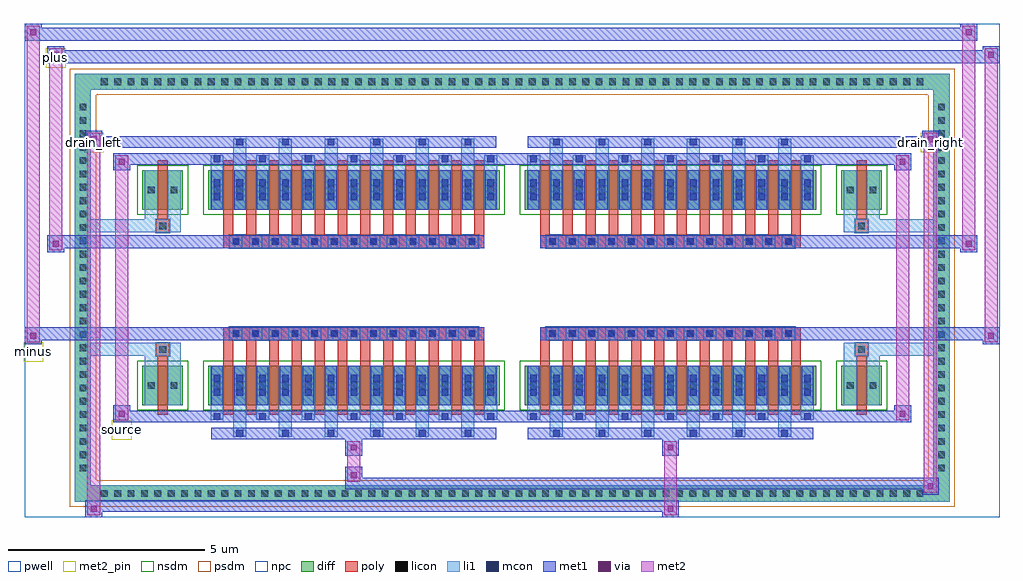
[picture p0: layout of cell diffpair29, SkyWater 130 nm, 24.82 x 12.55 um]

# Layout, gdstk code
import gdstk
lib = gdstk.Library(unit=1e-6, precision=5e-09)
def R(c, l, rs):  # rectangles x0, y0, x1, y1
    for r in rs: c.add(gdstk.rectangle(r[:2], r[2:], *l))
def A(c, l, x, y, w, h, nx, ny, dx, dy):  # array of equal rectangles
    R(c, l, [(x+i*dx, y+j*dy, x+i*dx+w, y+j*dy+h) for i in range(nx) for j in range(ny)])
def P(c, l, *ps):  # polygons
    for p in ps: c.add(gdstk.Polygon(p, *l))
pwell = (64, 44)
diff = (65, 20)
poly = (66, 20)
licon = (66, 44)
li1 = (67, 20)
mcon = (67, 44)
met1 = (68, 20)
via = (68, 44)
met2_pin = (69, 16)
met2 = (69, 20)
nsdm = (93, 44)
psdm = (94, 20)
npc = (95, 20)

diffpair29 = lib.new_cell('diffpair29')
R(diffpair29, pwell, [(-12.39,-5.84,12.39,6.71), (-9.71,-4.03,-0.01,-0.805), (0.01,-4.03,9.71,-0.805), (-9.71,0.805,-0.01,4.03), (0.01,0.805,9.71,4.03)])
A(diffpair29, diff, -10.575, -5.44, 0.41, 0.41, 62, 2, 0.34, 10.47)
A(diffpair29, diff, -11.12, -4.795, 0.41, 0.41, 1, 28, 0, 0.34)
A(diffpair29, diff, 10.71, -4.795, 0.41, 0.41, 1, 28, 0, 0.34)
R(diffpair29, diff, [(-10.575,-5.44,10.575,-5.03), (-11.12,-4.795,-10.71,4.795), (10.71,-4.795,11.12,4.795), (-9.4,-2.985,-8.37,-1.985), (-7.73,-2.985,-0.32,-1.985), (0.32,-2.985,7.73,-1.985), (8.37,-2.985,9.4,-1.985), (-9.4,1.985,-8.37,2.985), (-7.73,1.985,-0.32,2.985), (0.32,1.985,7.73,2.985), (8.37,1.985,9.4,2.985), (-10.575,5.03,10.575,5.44)])
P(diffpair29, diff, [(11.12,5.44),(-11.12,5.44),(-11.12,-5.03),(-10.71,-5.03),(-10.71,5.03),(10.71,5.03),(10.71,-5.03),(-10.71,-5.03),(-11.12,-5.03),(-11.12,-5.44),(11.12,-5.44)])
A(diffpair29, poly, -7.34, -3.235, 0.25, 1.5, 12, 2, 0.58, 4.97)
A(diffpair29, poly, 0.71, -3.235, 0.25, 1.5, 12, 2, 0.58, 4.97)
A(diffpair29, poly, -7.34, -1.735, 0.25, 0.4, 12, 2, 0.58, 3.07)
A(diffpair29, poly, 0.71, -1.735, 0.25, 0.4, 12, 2, 0.58, 3.07)
A(diffpair29, poly, -7.19, -1.335, 0.33, 0.33, 13, 2, 0.5, 2.34)
A(diffpair29, poly, 0.86, -1.335, 0.33, 0.33, 13, 2, 0.5, 2.34)
R(diffpair29, poly, [(-9.01,-3.235,-8.76,-1.735), (8.76,-3.235,9.01,-1.735), (-9.05,-1.735,-8.72,-1.405), (-9.05,-1.735,-8.72,-1.405), (8.72,-1.735,9.05,-1.405), (8.72,-1.735,9.05,-1.405), (-7.34,-1.335,-0.71,-1.005), (0.71,-1.335,7.34,-1.005), (-7.34,1.005,-0.71,1.335), (0.71,1.005,7.34,1.335), (-9.05,1.405,-8.72,1.735), (-9.05,1.405,-8.72,1.735), (8.72,1.405,9.05,1.735), (8.72,1.405,9.05,1.735), (-9.01,1.735,-8.76,3.235), (8.76,1.735,9.01,3.235)])
A(diffpair29, licon, -10.455, -5.32, 0.17, 0.17, 62, 2, 0.34, 10.47)
A(diffpair29, licon, -11, -4.675, 0.17, 0.17, 1, 28, 0, 0.34)
A(diffpair29, licon, 10.83, -4.675, 0.17, 0.17, 1, 28, 0, 0.34)
A(diffpair29, licon, -7.59, -2.57, 0.17, 0.17, 13, 2, 0.58, 4.97)
A(diffpair29, licon, 0.46, -2.57, 0.17, 0.17, 13, 2, 0.58, 4.97)
A(diffpair29, licon, -7.11, -1.255, 0.17, 0.17, 13, 2, 0.5, 2.34)
A(diffpair29, licon, 0.94, -1.255, 0.17, 0.17, 13, 2, 0.5, 2.34)
R(diffpair29, licon, [(-9.26,-2.57,-9.09,-2.4), (-8.68,-2.57,-8.51,-2.4), (8.51,-2.57,8.68,-2.4), (9.09,-2.57,9.26,-2.4), (-8.97,-1.655,-8.8,-1.485), (8.8,-1.655,8.97,-1.485), (-8.97,1.485,-8.8,1.655), (8.8,1.485,8.97,1.655), (-9.26,2.4,-9.09,2.57), (-8.68,2.4,-8.51,2.57), (8.51,2.4,8.68,2.57), (9.09,2.4,9.26,2.57)])
A(diffpair29, li1, -10.535, -5.4, 0.33, 0.33, 62, 2, 0.34, 10.47)
A(diffpair29, li1, -11.08, -4.755, 0.33, 0.33, 1, 28, 0, 0.34)
A(diffpair29, li1, 10.75, -4.755, 0.33, 0.33, 1, 28, 0, 0.34)
A(diffpair29, li1, -7.09, -3.79, 0.33, 0.805, 6, 2, 1.16, 6.775)
A(diffpair29, li1, -7.01, -3.79, 0.17, 0.17, 6, 2, 1.16, 7.41)
A(diffpair29, li1, 0.96, -3.79, 0.33, 0.805, 6, 2, 1.16, 6.775)
A(diffpair29, li1, 1.04, -3.79, 0.17, 0.17, 6, 2, 1.16, 7.41)
A(diffpair29, li1, -7.67, -3.36, 0.33, 0.375, 7, 2, 1.16, 6.345)
A(diffpair29, li1, -7.59, -3.36, 0.17, 0.17, 7, 2, 1.16, 6.55)
A(diffpair29, li1, 0.38, -3.36, 0.33, 0.375, 7, 2, 1.16, 6.345)
A(diffpair29, li1, 0.46, -3.36, 0.17, 0.17, 7, 2, 1.16, 6.55)
A(diffpair29, li1, -7.67, -2.985, 0.33, 1, 13, 2, 0.58, 4.97)
A(diffpair29, li1, 0.38, -2.985, 0.33, 1, 13, 2, 0.58, 4.97)
A(diffpair29, li1, -7.59, -2.75, 0.17, 0.17, 13, 2, 0.58, 0.36)
A(diffpair29, li1, -7.59, -2.75, 0.17, 0.53, 13, 2, 0.58, 4.97)
A(diffpair29, li1, 0.46, -2.75, 0.17, 0.17, 13, 2, 0.58, 0.36)
A(diffpair29, li1, 0.46, -2.75, 0.17, 0.53, 13, 2, 0.58, 4.97)
A(diffpair29, li1, -7.67, -2.65, 0.33, 0.33, 13, 2, 0.58, 4.97)
A(diffpair29, li1, 0.38, -2.65, 0.33, 0.33, 13, 2, 0.58, 4.97)
A(diffpair29, li1, -7.19, -1.335, 0.33, 0.33, 13, 2, 0.5, 2.34)
A(diffpair29, li1, 0.86, -1.335, 0.33, 0.33, 13, 2, 0.5, 2.34)
A(diffpair29, li1, -7.59, 2.22, 0.17, 0.17, 13, 2, 0.58, 0.36)
A(diffpair29, li1, 0.46, 2.22, 0.17, 0.17, 13, 2, 0.58, 0.36)
R(diffpair29, li1, [(-11.12,-5.44,-10.71,-5.03), (-11.12,-5.44,-10.71,-5.03), (-10.71,-5.44,10.71,-5.03), (10.71,-5.44,11.12,-5.03), (10.71,-5.44,11.12,-5.03), (-11.12,-5.03,-10.71,5.03), (10.71,-5.03,11.12,5.03), (-9.34,-2.985,-9.01,-1.985), (-8.76,-2.985,-8.43,-1.985), (8.43,-2.985,8.76,-1.985), (9.01,-2.985,9.34,-1.985), (-9.34,-2.65,-9.01,-2.32), (-8.76,-2.65,-8.43,-2.32), (8.43,-2.65,8.76,-2.32), (9.01,-2.65,9.34,-2.32), (-9.34,-1.985,-9.01,-1.405), (-8.76,-1.985,-8.43,-1.405), (8.43,-1.985,8.76,-1.405), (9.01,-1.985,9.34,-1.405), (-11.12,-1.735,-9.05,-1.405), (-9.34,-1.735,-9.05,-1.405), (-9.05,-1.735,-8.72,-1.405), (-8.72,-1.735,-8.43,-1.405), (8.43,-1.735,8.72,-1.405), (8.72,-1.735,9.05,-1.405), (8.72,-1.735,11.12,-1.405), (9.05,-1.735,9.34,-1.405), (-11.12,1.405,-9.05,1.735), (-9.34,1.405,-9.05,1.735), (-9.34,1.405,-9.01,1.985), (-9.05,1.405,-8.72,1.735), (-8.76,1.405,-8.43,1.985), (-8.72,1.405,-8.43,1.735), (8.43,1.405,8.72,1.735), (8.43,1.405,8.76,1.985), (8.72,1.405,9.05,1.735), (8.72,1.405,11.12,1.735), (9.01,1.405,9.34,1.985), (9.05,1.405,9.34,1.735), (-9.34,1.985,-9.01,2.985), (-8.76,1.985,-8.43,2.985), (8.43,1.985,8.76,2.985), (9.01,1.985,9.34,2.985), (-9.34,2.32,-9.01,2.65), (-8.76,2.32,-8.43,2.65), (8.43,2.32,8.76,2.65), (9.01,2.32,9.34,2.65), (-11.12,5.03,-10.71,5.44), (-11.12,5.03,-10.71,5.44), (-10.71,5.03,10.71,5.44), (10.71,5.03,11.12,5.44), (10.71,5.03,11.12,5.44)])
A(diffpair29, mcon, -7.01, -3.79, 0.17, 0.17, 6, 2, 1.16, 7.41)
A(diffpair29, mcon, 1.04, -3.79, 0.17, 0.17, 6, 2, 1.16, 7.41)
A(diffpair29, mcon, -7.59, -3.36, 0.17, 0.17, 7, 2, 1.16, 6.55)
A(diffpair29, mcon, 0.46, -3.36, 0.17, 0.17, 7, 2, 1.16, 6.55)
A(diffpair29, mcon, -7.59, -2.75, 0.17, 0.17, 13, 2, 0.58, 0.36)
A(diffpair29, mcon, 0.46, -2.75, 0.17, 0.17, 13, 2, 0.58, 0.36)
A(diffpair29, mcon, -7.11, -1.255, 0.17, 0.17, 13, 2, 0.5, 2.34)
A(diffpair29, mcon, 0.94, -1.255, 0.17, 0.17, 13, 2, 0.5, 2.34)
A(diffpair29, mcon, -7.59, 2.22, 0.17, 0.17, 13, 2, 0.58, 0.36)
A(diffpair29, mcon, 0.46, 2.22, 0.17, 0.17, 13, 2, 0.58, 0.36)
A(diffpair29, met1, -7.07, -3.85, 0.29, 0.29, 6, 2, 1.16, 7.41)
A(diffpair29, met1, 0.98, -3.85, 0.29, 0.29, 6, 2, 1.16, 7.41)
A(diffpair29, met1, -7.65, -3.42, 0.29, 0.29, 7, 2, 1.16, 6.55)
A(diffpair29, met1, 0.4, -3.42, 0.29, 0.29, 7, 2, 1.16, 6.55)
A(diffpair29, met1, -7.65, -2.985, 0.29, 1, 13, 2, 0.58, 4.97)
A(diffpair29, met1, 0.4, -2.985, 0.29, 1, 13, 2, 0.58, 4.97)
A(diffpair29, met1, -7.65, -2.81, 0.29, 0.29, 13, 2, 0.58, 0.36)
A(diffpair29, met1, 0.4, -2.81, 0.29, 0.29, 13, 2, 0.58, 0.36)
A(diffpair29, met1, -7.17, -1.315, 0.29, 0.29, 13, 2, 0.5, 2.34)
A(diffpair29, met1, 0.88, -1.315, 0.29, 0.29, 13, 2, 0.5, 2.34)
A(diffpair29, met1, -7.65, 2.16, 0.29, 0.29, 13, 2, 0.58, 0.36)
A(diffpair29, met1, 0.4, 2.16, 0.29, 0.29, 13, 2, 0.58, 0.36)
R(diffpair29, met1, [(-10.85,-5.84,-10.42,-5.41), (3.81,-5.84,4.24,-5.41), (-10.85,-5.7,4.24,-5.41), (10.42,-5.27,10.85,-4.84), (-4.24,-5.13,10.85,-4.84), (-4.24,-4.99,-3.81,-4.56), (-4.24,-4.28,-3.81,-3.85), (3.81,-4.28,4.24,-3.85), (-7.65,-3.85,-0.4,-3.56), (0.4,-3.85,7.65,-3.56), (-10.14,-3.42,-9.71,-2.99), (-10.14,-3.42,-7.65,-3.13), (-7.65,-3.42,-0.4,-3.13), (-0.4,-3.42,0.4,-3.13), (0.4,-3.42,7.65,-3.13), (7.65,-3.42,10.14,-3.13), (9.71,-3.42,10.14,-2.99), (-12.39,-1.435,-11.96,-1.005), (11.96,-1.435,12.39,-1.005), (-12.39,-1.335,-0.71,-1.005), (-7.34,-1.335,-0.71,-1.005), (0.71,-1.335,7.34,-1.005), (0.71,-1.335,12.39,-1.005), (-11.82,0.905,-11.39,1.335), (11.39,0.905,11.82,1.335), (-11.82,1.005,-7.34,1.335), (-7.34,1.005,-0.71,1.335), (0.71,1.005,7.34,1.335), (7.34,1.005,11.82,1.335), (-10.14,2.99,-9.71,3.42), (9.71,2.99,10.14,3.42), (-10.14,3.13,-7.65,3.42), (-7.65,3.13,-0.4,3.42), (-0.4,3.13,0.4,3.42), (0.4,3.13,7.65,3.42), (7.65,3.13,10.14,3.42), (-10.85,3.56,-10.42,3.99), (-10.85,3.56,-7.65,3.85), (-7.65,3.56,-0.4,3.85), (0.4,3.56,7.65,3.85), (7.65,3.56,10.85,3.85), (10.42,3.56,10.85,3.99), (-11.82,5.71,-11.39,6.14), (-11.82,5.71,-9.71,6.04), (-9.71,5.71,9.71,6.04), (9.71,5.71,12.39,6.04), (11.96,5.71,12.39,6.14), (-12.39,6.28,-11.96,6.71), (-12.39,6.28,-9.71,6.61), (-9.71,6.28,9.71,6.61), (9.71,6.28,11.82,6.61), (11.39,6.28,11.82,6.71)])
R(diffpair29, via, [(-10.71,-5.7,-10.56,-5.55), (3.95,-5.7,4.1,-5.55), (10.56,-5.13,10.71,-4.98), (-4.1,-4.85,-3.95,-4.7), (-4.1,-4.14,-3.95,-3.99), (3.95,-4.14,4.1,-3.99), (-10,-3.28,-9.85,-3.13), (9.85,-3.28,10,-3.13), (-12.25,-1.295,-12.1,-1.145), (12.1,-1.295,12.25,-1.145), (-11.68,1.045,-11.53,1.195), (11.53,1.045,11.68,1.195), (-10,3.13,-9.85,3.28), (9.85,3.13,10,3.28), (-10.71,3.7,-10.56,3.85), (10.56,3.7,10.71,3.85), (-11.68,5.85,-11.53,6), (12.1,5.85,12.25,6), (-12.25,6.42,-12.1,6.57), (11.53,6.42,11.68,6.57)])
R(diffpair29, met2_pin, [(-10.175,-3.87,-9.675,-3.37), (-12.425,-1.885,-11.925,-1.385), (-10.885,3.44,-10.385,3.94), (10.385,3.44,10.885,3.94), (-11.855,5.59,-11.355,6.09)])
R(diffpair29, met2, [(-10.8,-5.79,-10.47,-5.46), (-10.8,-5.79,-10.47,3.94), (3.86,-5.79,4.19,-5.46), (3.86,-5.46,4.19,-4.23), (10.47,-5.22,10.8,-4.89), (10.47,-5.22,10.8,3.94), (-4.19,-4.94,-3.86,-4.61), (-4.19,-4.61,-3.86,-4.23), (-4.19,-4.23,-3.86,-3.9), (3.86,-4.23,4.19,-3.9), (-10.09,-3.37,-9.76,-3.04), (-10.09,-3.37,-9.76,3.37), (9.76,-3.37,10.09,-3.04), (9.76,-3.37,10.09,3.37), (-12.34,-1.385,-12.01,-1.055), (-12.34,-1.385,-12.01,6.66), (12.01,-1.385,12.34,-1.055), (12.01,-1.385,12.34,6.09), (-11.77,0.955,-11.44,1.285), (-11.77,0.955,-11.44,6.09), (11.44,0.955,11.77,1.285), (11.44,0.955,11.77,6.66), (-10.09,3.04,-9.76,3.37), (9.76,3.04,10.09,3.37), (-10.8,3.61,-10.47,3.94), (10.47,3.61,10.8,3.94), (-11.77,5.76,-11.44,6.09), (12.01,5.76,12.34,6.09), (-12.34,6.33,-12.01,6.66), (11.44,6.33,11.77,6.66)])
P(diffpair29, met2, [(12.34,-1.385),(12.34,-1.385),(12.34,-1.055),(12.34,-1.055)],
  [(12.34,5.76),(12.34,5.76),(12.34,6.09),(12.34,6.09)],
  [(-12.01,-1.385),(-12.01,-1.385),(-12.01,-1.055),(-12.01,-1.055)],
  [(-12.01,6.33),(-12.01,6.33),(-12.01,6.66),(-12.01,6.66)],
  [(11.77,0.955),(11.77,0.955),(11.77,1.285),(11.77,1.285)],
  [(11.77,6.33),(11.77,6.33),(11.77,6.66),(11.77,6.66)],
  [(-11.44,0.955),(-11.44,0.955),(-11.44,1.285),(-11.44,1.285)],
  [(-11.44,5.76),(-11.44,5.76),(-11.44,6.09),(-11.44,6.09)],
  [(-10.47,-5.79),(-10.47,-5.79),(-10.47,-5.46),(-10.47,-5.46)],
  [(-10.47,3.61),(-10.47,3.61),(-10.47,3.94),(-10.47,3.94)],
  [(10.8,-5.22),(10.8,-5.22),(10.8,-4.89),(10.8,-4.89)],
  [(10.8,3.61),(10.8,3.61),(10.8,3.94),(10.8,3.94)],
  [(-9.76,-3.37),(-9.76,-3.37),(-9.76,-3.04),(-9.76,-3.04)],
  [(-9.76,3.04),(-9.76,3.04),(-9.76,3.37),(-9.76,3.37)],
  [(10.09,-3.37),(10.09,-3.37),(10.09,-3.04),(10.09,-3.04)],
  [(10.09,3.04),(10.09,3.04),(10.09,3.37),(10.09,3.37)])
R(diffpair29, nsdm, [(-9.53,-3.115,-8.24,-1.855), (-7.86,-3.115,-0.19,-1.855), (0.19,-3.115,7.86,-1.855), (8.24,-3.115,9.53,-1.855), (-9.53,1.855,-8.24,3.115), (-7.86,1.855,-0.19,3.115), (0.19,1.855,7.86,3.115), (8.24,1.855,9.53,3.115)])
P(diffpair29, psdm, [(11.25,5.57),(-11.25,5.57),(-11.25,-4.9),(-10.58,-4.9),(-10.58,4.9),(10.58,4.9),(10.58,-4.9),(-10.58,-4.9),(-11.25,-4.9),(-11.25,-5.57),(11.25,-5.57)])
A(diffpair29, npc, -7.21, -1.355, 0.37, 0.37, 13, 2, 0.5, 2.34)
A(diffpair29, npc, 0.84, -1.355, 0.37, 0.37, 13, 2, 0.5, 2.34)
R(diffpair29, npc, [(-9.07,-1.755,-8.7,-1.385), (8.7,-1.755,9.07,-1.385), (-7.21,-1.355,-6.34,-0.985), (-7.21,-1.355,-6.34,-0.985), (-6.71,-1.355,-5.84,-0.985), (-6.71,-1.355,-5.84,-0.985), (-6.21,-1.355,-5.34,-0.985), (-6.21,-1.355,-5.34,-0.985), (-5.71,-1.355,-4.84,-0.985), (-5.71,-1.355,-4.84,-0.985), (-5.21,-1.355,-4.34,-0.985), (-5.21,-1.355,-4.34,-0.985), (-4.71,-1.355,-3.84,-0.985), (-4.71,-1.355,-3.84,-0.985), (-4.21,-1.355,-3.34,-0.985), (-4.21,-1.355,-3.34,-0.985), (-3.71,-1.355,-2.84,-0.985), (-3.71,-1.355,-2.84,-0.985), (-3.21,-1.355,-2.34,-0.985), (-3.21,-1.355,-2.34,-0.985), (-2.71,-1.355,-1.84,-0.985), (-2.71,-1.355,-1.84,-0.985), (-2.21,-1.355,-1.34,-0.985), (-2.21,-1.355,-1.34,-0.985), (-1.71,-1.355,-0.84,-0.985), (-1.71,-1.355,-0.84,-0.985), (0.84,-1.355,1.71,-0.985), (0.84,-1.355,1.71,-0.985), (1.34,-1.355,2.21,-0.985), (1.34,-1.355,2.21,-0.985), (1.84,-1.355,2.71,-0.985), (1.84,-1.355,2.71,-0.985), (2.34,-1.355,3.21,-0.985), (2.34,-1.355,3.21,-0.985), (2.84,-1.355,3.71,-0.985), (2.84,-1.355,3.71,-0.985), (3.34,-1.355,4.21,-0.985), (3.34,-1.355,4.21,-0.985), (3.84,-1.355,4.71,-0.985), (3.84,-1.355,4.71,-0.985), (4.34,-1.355,5.21,-0.985), (4.34,-1.355,5.21,-0.985), (4.84,-1.355,5.71,-0.985), (4.84,-1.355,5.71,-0.985), (5.34,-1.355,6.21,-0.985), (5.34,-1.355,6.21,-0.985), (5.84,-1.355,6.71,-0.985), (5.84,-1.355,6.71,-0.985), (6.34,-1.355,7.21,-0.985), (6.34,-1.355,7.21,-0.985), (-7.21,0.985,-6.34,1.355), (-7.21,0.985,-6.34,1.355), (-6.71,0.985,-5.84,1.355), (-6.71,0.985,-5.84,1.355), (-6.21,0.985,-5.34,1.355), (-6.21,0.985,-5.34,1.355), (-5.71,0.985,-4.84,1.355), (-5.71,0.985,-4.84,1.355), (-5.21,0.985,-4.34,1.355), (-5.21,0.985,-4.34,1.355), (-4.71,0.985,-3.84,1.355), (-4.71,0.985,-3.84,1.355), (-4.21,0.985,-3.34,1.355), (-4.21,0.985,-3.34,1.355), (-3.71,0.985,-2.84,1.355), (-3.71,0.985,-2.84,1.355), (-3.21,0.985,-2.34,1.355), (-3.21,0.985,-2.34,1.355), (-2.71,0.985,-1.84,1.355), (-2.71,0.985,-1.84,1.355), (-2.21,0.985,-1.34,1.355), (-2.21,0.985,-1.34,1.355), (-1.71,0.985,-0.84,1.355), (-1.71,0.985,-0.84,1.355), (0.84,0.985,1.71,1.355), (0.84,0.985,1.71,1.355), (1.34,0.985,2.21,1.355), (1.34,0.985,2.21,1.355), (1.84,0.985,2.71,1.355), (1.84,0.985,2.71,1.355), (2.34,0.985,3.21,1.355), (2.34,0.985,3.21,1.355), (2.84,0.985,3.71,1.355), (2.84,0.985,3.71,1.355), (3.34,0.985,4.21,1.355), (3.34,0.985,4.21,1.355), (3.84,0.985,4.71,1.355), (3.84,0.985,4.71,1.355), (4.34,0.985,5.21,1.355), (4.34,0.985,5.21,1.355), (4.84,0.985,5.71,1.355), (4.84,0.985,5.71,1.355), (5.34,0.985,6.21,1.355), (5.34,0.985,6.21,1.355), (5.84,0.985,6.71,1.355), (5.84,0.985,6.71,1.355), (6.34,0.985,7.21,1.355), (6.34,0.985,7.21,1.355), (-9.07,1.385,-8.7,1.755), (8.7,1.385,9.07,1.755)])
diffpair29.add(gdstk.Label('minus', (-12.175,-1.635), layer=69, texttype=5))
diffpair29.add(gdstk.Label('drain_right', (10.635,3.69), layer=69, texttype=5))
diffpair29.add(gdstk.Label('drain_left', (-10.635,3.69), layer=69, texttype=5))
diffpair29.add(gdstk.Label('source', (-9.925,-3.62), layer=69, texttype=5))
diffpair29.add(gdstk.Label('plus', (-11.605,5.84), layer=69, texttype=5))

lib.write_gds('diffpair29.gds')
